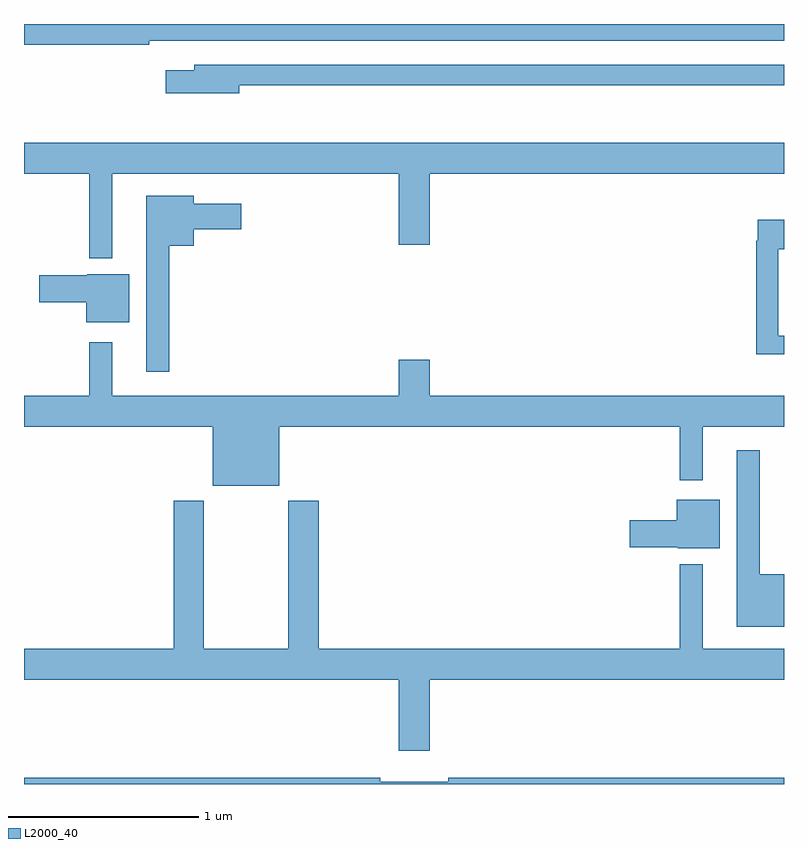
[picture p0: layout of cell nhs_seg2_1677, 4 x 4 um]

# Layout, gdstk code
import gdstk
lib = gdstk.Library(unit=1e-6, precision=1e-09)
def P(c, l, *ps):  # polygons
    for p in ps: c.add(gdstk.Polygon(p, *l))
L2000_40 = (2000, 40)

nhs_seg2_1677 = lib.new_cell('nhs_seg2_1677')
P(nhs_seg2_1677, L2000_40, [(199.658,605.712),(203,605.712),(203,605.8),(199,605.8),(199,605.692),(199.658,605.692)],
  [(200.134,605.478),(203,605.478),(203,605.586),(199.895,605.586),(199.895,605.557),(199.746,605.557),(199.746,605.435),(200.134,605.435)],
  [(199.465,605.012),(200.972,605.012),(200.972,604.638),(201.136,604.638),(201.136,605.012),(203,605.012),(203,605.176),(199,605.176),(199,605.012),(199.344,605.012),(199.344,604.568),(199.465,604.568)],
  [(199.765,604.634),(199.894,604.634),(199.894,604.721),(200.143,604.721),(200.143,604.855),(199.894,604.855),(199.894,604.897),(199.643,604.897),(199.643,603.969),(199.765,603.969)],
  [(203,604.158),(202.971,604.158),(202.971,604.615),(203,604.615),(203,604.771),(202.863,604.771),(202.863,604.658),(202.855,604.658),(202.855,604.061),(203,604.061)],
  [(199.555,604.483),(199.332,604.483),(199.332,604.478),(199.08,604.478),(199.08,604.336),(199.328,604.336),(199.328,604.229),(199.555,604.229)],
  [(200.344,603.68),(202.452,603.68),(202.452,603.399),(202.573,603.399),(202.573,603.68),(203,603.68),(203,603.844),(201.136,603.844),(201.136,604.033),(200.972,604.033),(200.972,603.844),(199.465,603.844),(199.465,604.126),(199.344,604.126),(199.344,603.844),(199,603.844),(199,603.68),(199.994,603.68),(199.994,603.371),(200.344,603.371)],
  [(203,602.903),(202.873,602.903),(202.873,603.556),(202.751,603.556),(202.751,602.627),(203,602.627)],
  [(202.663,603.295),(202.436,603.295),(202.436,603.189),(202.188,603.189),(202.188,603.047),(202.44,603.047),(202.44,603.041),(202.663,603.041)],
  [(201.136,602.348),(203,602.348),(203,602.512),(202.573,602.512),(202.573,602.956),(202.452,602.956),(202.452,602.512),(200.552,602.512),(200.552,603.292),(200.392,603.292),(200.392,602.512),(199.947,602.512),(199.947,603.292),(199.787,603.292),(199.787,602.512),(199,602.512),(199,602.348),(200.972,602.348),(200.972,601.974),(201.136,601.974)],
  [(203,601.832),(201.232,601.832),(201.232,601.813),(200.876,601.813),(200.876,601.832),(199,601.832),(199,601.8),(203,601.8)])

lib.write_gds('nhs_seg2_1677.gds')
